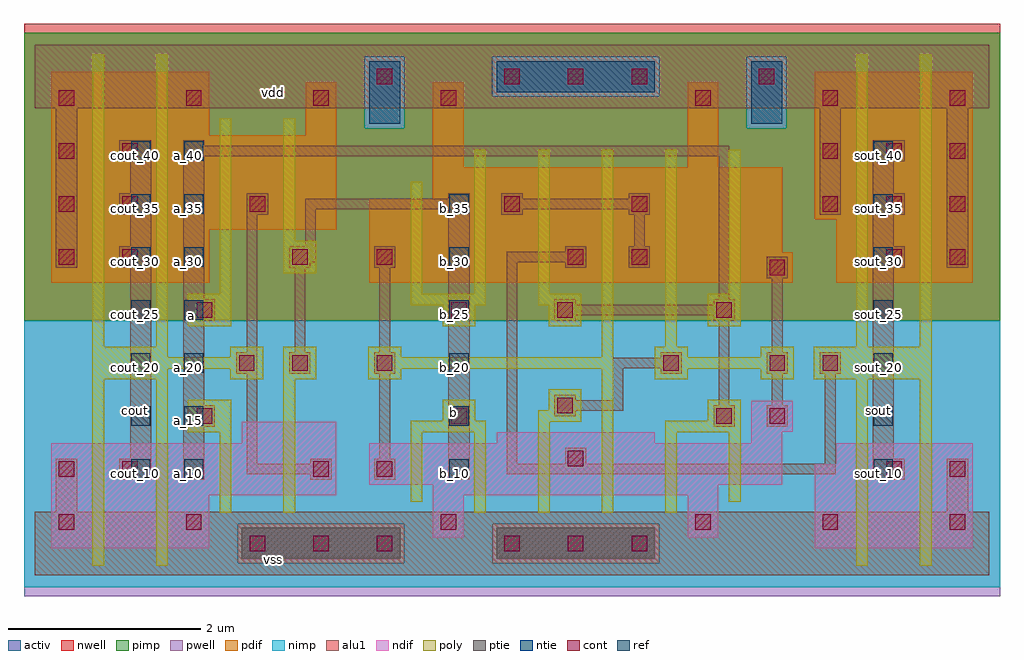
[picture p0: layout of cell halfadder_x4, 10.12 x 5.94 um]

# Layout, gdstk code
import gdstk
lib = gdstk.Library(unit=1e-6, precision=2.5e-09)
def R(c, l, rs):  # rectangles x0, y0, x1, y1
    for r in rs: c.add(gdstk.rectangle(r[:2], r[2:], *l))
def A(c, l, x, y, w, h, nx, ny, dx, dy):  # array of equal rectangles
    R(c, l, [(x+i*dx, y+j*dy, x+i*dx+w, y+j*dy+h) for i in range(nx) for j in range(ny)])
ndif = (3, 0)
pdif = (4, 0)
ntie = (5, 0)
ptie = (6, 0)
ref = (24, 0)
cont = (25, 0)
pwell = (41, 0)
nwell = (42, 0)
activ = (43, 0)
pimp = (44, 0)
nimp = (45, 0)
poly = (46, 0)
alu1 = (49, 0)

halfadder_x4 = lib.new_cell('halfadder_x4')
R(halfadder_x4, ndif, [(0.17,0.28,1.81,0.83), (0.17,0.28,1.81,0.83), (8.09,0.28,9.73,1.15), (8.09,0.28,9.73,1.15), (4.13,0.39,4.45,0.83), (4.13,0.39,4.45,0.83), (6.77,0.39,7.09,0.83), (6.77,0.39,7.09,0.83), (0.17,0.83,3.13,1.37), (0.17,0.83,3.13,1.37), (4.13,0.83,7.09,0.94), (4.13,0.83,7.09,0.94), (3.47,0.94,7.75,1.37), (3.47,0.94,7.75,1.37), (8.31,1.15,9.73,1.37), (8.31,1.15,9.73,1.37), (2.15,1.37,3.13,1.59), (2.15,1.37,3.13,1.59), (4.79,1.37,6.43,1.48), (4.79,1.37,6.43,1.48), (7.43,1.37,7.75,1.49), (7.43,1.37,7.75,1.49), (7.43,1.49,7.86,1.81), (7.43,1.49,7.86,1.81)])
R(halfadder_x4, pdif, [(0.17,3.03,1.81,3.58), (0.17,3.03,1.81,3.58), (3.47,3.03,7.86,3.35), (3.47,3.03,7.86,3.35), (8.31,3.03,9.73,3.69), (8.31,3.03,9.73,3.69), (3.47,3.35,7.75,3.9), (3.47,3.35,7.75,3.9), (0.17,3.58,3.13,4.56), (0.17,3.58,3.13,4.56), (8.09,3.69,9.73,5.22), (8.09,3.69,9.73,5.22), (4.13,3.9,7.75,4.23), (4.13,3.9,7.75,4.23), (4.13,4.23,4.45,5.11), (4.13,4.23,4.45,5.11), (6.77,4.23,7.09,5.11), (6.77,4.23,7.09,5.11), (0.17,4.56,1.81,5.22), (0.17,4.56,1.81,5.22), (2.81,4.56,3.13,5.11), (2.81,4.56,3.13,5.11)])
R(halfadder_x4, ntie, [(3.47,4.68,3.79,5.33), (3.47,4.68,3.79,5.33), (7.43,4.68,7.75,5.33), (7.43,4.68,7.75,5.33), (4.79,5.01,6.43,5.33), (4.79,5.01,6.43,5.33)])
R(halfadder_x4, ptie, [(2.15,0.17,3.79,0.49), (2.15,0.17,3.79,0.49), (4.79,0.17,6.43,0.49), (4.79,0.17,6.43,0.49)])
A(halfadder_x4, ref, 1, 1, 0.2, 0.2, 1, 7, 0, 0.55)
A(halfadder_x4, ref, 1.55, 1, 0.2, 0.2, 1, 7, 0, 0.55)
A(halfadder_x4, ref, 4.3, 1, 0.2, 0.2, 1, 6, 0, 0.55)
A(halfadder_x4, ref, 8.7, 1, 0.2, 0.2, 1, 7, 0, 0.55)
A(halfadder_x4, cont, 2.23, 0.25, 0.16, 0.16, 3, 1, 0.66, 0)
A(halfadder_x4, cont, 4.87, 0.25, 0.16, 0.16, 3, 2, 0.66, 4.84)
A(halfadder_x4, cont, 1.57, 0.47, 0.16, 0.16, 3, 1, 2.64, 0)
A(halfadder_x4, cont, 3.55, 1.02, 0.16, 0.16, 1, 3, 0, 1.1)
A(halfadder_x4, cont, 0.25, 3.22, 0.16, 0.16, 1, 3, 0, 0.55)
A(halfadder_x4, cont, 0.91, 3.22, 0.16, 0.16, 1, 3, 0, 0.55)
A(halfadder_x4, cont, 8.17, 3.77, 0.16, 0.16, 3, 2, 0.66, 0.55)
A(halfadder_x4, cont, 0.25, 4.87, 0.16, 0.16, 4, 1, 1.32, 0)
A(halfadder_x4, cont, 6.85, 4.87, 0.16, 0.16, 3, 1, 1.32, 0)
R(halfadder_x4, cont, [(0.25,0.47,0.41,0.63), (8.17,0.47,8.33,0.63), (9.49,0.47,9.65,0.63), (0.25,1.02,0.41,1.18), (0.91,1.02,1.07,1.18), (2.89,1.02,3.05,1.18), (8.83,1.02,8.99,1.18), (9.49,1.02,9.65,1.18), (5.53,1.13,5.69,1.29), (1.68,1.57,1.84,1.73), (4.32,1.57,4.48,1.73), (7.07,1.57,7.23,1.73), (7.62,1.57,7.78,1.73), (5.42,1.68,5.58,1.84), (2.12,2.12,2.28,2.28), (2.67,2.12,2.83,2.28), (6.52,2.12,6.68,2.28), (7.62,2.12,7.78,2.28), (8.17,2.12,8.33,2.28), (1.68,2.67,1.84,2.83), (4.32,2.67,4.48,2.83), (5.42,2.67,5.58,2.83), (7.07,2.67,7.23,2.83), (7.62,3.11,7.78,3.27), (2.67,3.22,2.83,3.38), (5.53,3.22,5.69,3.38), (6.19,3.22,6.35,3.38), (8.83,3.22,8.99,3.38), (9.49,3.22,9.65,3.38), (2.23,3.77,2.39,3.93), (4.87,3.77,5.03,3.93), (6.19,3.77,6.35,3.93), (3.55,5.09,3.71,5.25), (7.51,5.09,7.67,5.25)])
R(halfadder_x4, pwell, [(-0.11,-0.22,10.01,2.64)])
R(halfadder_x4, nwell, [(-0.11,2.64,10.01,5.72)])
R(halfadder_x4, activ, [(2.15,0.17,3.79,0.49), (2.15,0.17,3.79,0.49), (4.79,0.17,6.43,0.49), (4.79,0.17,6.43,0.49), (0.17,0.28,1.81,0.83), (0.17,0.28,1.81,0.83), (8.09,0.28,9.73,1.15), (8.09,0.28,9.73,1.15), (4.13,0.39,4.45,0.83), (4.13,0.39,4.45,0.83), (6.77,0.39,7.09,0.83), (6.77,0.39,7.09,0.83), (0.17,0.83,3.13,1.37), (0.17,0.83,3.13,1.37), (4.13,0.83,7.09,0.94), (4.13,0.83,7.09,0.94), (3.47,0.94,7.75,1.37), (3.47,0.94,7.75,1.37), (8.31,1.15,9.73,1.37), (8.31,1.15,9.73,1.37), (2.15,1.37,3.13,1.59), (2.15,1.37,3.13,1.59), (4.79,1.37,6.43,1.48), (4.79,1.37,6.43,1.48), (7.43,1.37,7.75,1.49), (7.43,1.37,7.75,1.49), (7.43,1.49,7.86,1.81), (7.43,1.49,7.86,1.81), (0.17,3.03,1.81,3.58), (0.17,3.03,1.81,3.58), (3.47,3.03,7.86,3.35), (3.47,3.03,7.86,3.35), (8.31,3.03,9.73,3.69), (8.31,3.03,9.73,3.69), (3.47,3.35,7.75,3.9), (3.47,3.35,7.75,3.9), (0.17,3.58,3.13,4.56), (0.17,3.58,3.13,4.56), (8.09,3.69,9.73,5.22), (8.09,3.69,9.73,5.22), (4.13,3.9,7.75,4.23), (4.13,3.9,7.75,4.23), (4.13,4.23,4.45,5.11), (4.13,4.23,4.45,5.11), (6.77,4.23,7.09,5.11), (6.77,4.23,7.09,5.11), (0.17,4.56,1.81,5.22), (0.17,4.56,1.81,5.22), (2.81,4.56,3.13,5.11), (2.81,4.56,3.13,5.11), (3.47,4.68,3.79,5.33), (3.47,4.68,3.79,5.33), (7.43,4.68,7.75,5.33), (7.43,4.68,7.75,5.33), (4.79,5.01,6.43,5.33), (4.79,5.01,6.43,5.33)])
R(halfadder_x4, pimp, [(2.105,0.125,3.835,0.535), (4.745,0.125,6.475,0.535), (-0.11,2.64,10.01,4.635), (-0.11,4.635,3.425,5.375), (3.835,4.635,7.385,4.965), (7.795,4.635,10.01,5.375), (3.835,4.965,4.745,5.375), (6.475,4.965,7.385,5.375), (-0.11,5.375,10.01,5.625)])
R(halfadder_x4, nimp, [(-0.11,-0.125,10.01,0.125), (-0.11,0.125,2.105,0.535), (3.835,0.125,4.745,0.535), (6.475,0.125,10.01,0.535), (-0.11,0.535,10.01,2.64), (3.425,4.635,3.835,5.375), (7.385,4.635,7.795,5.375), (4.745,4.965,6.475,5.375)])
R(halfadder_x4, poly, [(0.6,0.1,0.72,2.03), (1.26,0.1,1.38,2.03), (8.52,0.1,8.64,2.03), (9.18,0.1,9.3,2.03), (1.92,0.65,2.04,1.48), (2.58,0.65,2.7,2.03), (4.56,0.65,4.68,1.48), (5.22,0.65,5.34,1.59), (5.88,0.65,6,2.14), (6.54,0.65,6.66,1.48), (3.9,0.76,4.02,1.48), (7.2,0.76,7.32,1.48), (1.59,1.48,2.04,1.82), (3.9,1.48,4.68,1.6), (6.54,1.48,7.32,1.6), (5.22,1.59,5.67,1.71), (4.23,1.6,4.57,1.82), (6.98,1.6,7.32,1.82), (5.33,1.71,5.67,1.93), (0.6,2.03,1.38,2.14), (2.03,2.03,2.37,2.14), (2.58,2.03,2.92,2.37), (3.46,2.03,3.8,2.14), (6.43,2.03,6.77,2.14), (7.53,2.03,7.87,2.14), (8.08,2.03,9.3,2.37), (0.6,2.14,2.37,2.26), (3.46,2.14,6,2.26), (6.43,2.14,7.87,2.26), (0.6,2.26,1.38,2.37), (2.03,2.26,2.37,2.37), (3.46,2.26,3.8,2.37), (5.88,2.26,6,4.41), (6.43,2.26,6.77,2.37), (7.53,2.26,7.87,2.37), (0.6,2.37,0.72,5.4), (1.26,2.37,1.38,5.4), (6.54,2.37,6.66,4.41), (8.52,2.37,8.64,5.4), (9.18,2.37,9.3,5.4), (1.59,2.58,2.04,2.92), (4.23,2.58,4.57,2.8), (5.33,2.58,5.67,2.8), (6.98,2.58,7.32,2.92), (3.9,2.8,4.68,2.92), (5.22,2.8,5.67,2.92), (1.92,2.92,2.04,4.74), (3.9,2.92,4.02,4.08), (4.56,2.92,4.68,4.41), (5.22,2.92,5.34,4.41), (7.2,2.92,7.32,4.41), (2.58,3.13,2.92,3.47), (2.58,3.47,2.7,4.74)])
A(halfadder_x4, alu1, 3.52, 0.99, 0.22, 0.22, 1, 3, 0, 1.1)
A(halfadder_x4, alu1, 0.88, 3.19, 0.33, 0.22, 1, 3, 0, 0.55)
A(halfadder_x4, alu1, 8.69, 3.19, 0.33, 0.22, 1, 3, 0, 0.55)
R(halfadder_x4, alu1, [(0,0,9.9,0.66), (0.22,0.66,0.44,1.21), (9.46,0.66,9.68,1.21), (0.88,0.99,1.21,1.21), (1.54,0.99,1.76,1.54), (2.86,0.99,3.08,1.045), (4.29,0.99,4.51,3.795), (8.69,0.99,9.02,1.21), (2.2,1.045,3.08,1.155), (4.895,1.045,8.305,1.155), (2.2,1.155,2.31,2.09), (2.86,1.155,3.08,1.21), (4.895,1.155,5.005,3.245), (5.5,1.155,5.72,1.32), (8.195,1.155,8.305,2.09), (0.99,1.21,1.21,3.19), (3.575,1.21,3.685,2.09), (8.69,1.21,8.91,3.19), (1.54,1.54,1.87,1.76), (7.04,1.54,7.26,1.76), (7.59,1.54,7.81,1.76), (5.39,1.65,5.61,1.705), (5.39,1.705,6.105,1.815), (1.54,1.76,1.76,2.64), (7.095,1.76,7.205,2.64), (7.645,1.76,7.755,2.09), (5.39,1.815,5.61,1.87), (5.995,1.815,6.105,2.145), (2.09,2.09,2.31,2.31), (2.64,2.09,2.86,2.31), (6.49,2.09,6.71,2.145), (7.59,2.09,7.81,2.31), (8.14,2.09,8.36,2.31), (5.995,2.145,6.71,2.255), (6.49,2.255,6.71,2.31), (2.2,2.31,2.31,3.74), (2.695,2.31,2.805,3.19), (3.575,2.31,3.685,3.19), (7.645,2.31,7.755,3.08), (1.54,2.64,1.87,2.86), (5.39,2.64,5.61,2.695), (7.04,2.64,7.26,2.695), (5.39,2.695,7.26,2.805), (5.39,2.805,5.61,2.86), (7.04,2.805,7.26,2.86), (1.54,2.86,1.76,4.345), (7.095,2.86,7.205,4.345), (7.59,3.08,7.81,3.3), (0.22,3.19,0.44,4.84), (2.64,3.19,2.86,3.245), (5.5,3.19,5.72,3.245), (6.16,3.19,6.38,3.41), (9.46,3.19,9.68,4.84), (2.64,3.245,2.915,3.41), (4.895,3.245,5.72,3.355), (5.5,3.355,5.72,3.41), (0.99,3.41,1.21,3.74), (2.805,3.41,2.915,3.795), (6.215,3.41,6.325,3.74), (8.69,3.41,8.91,3.74), (2.2,3.74,2.42,3.96), (4.84,3.74,5.06,3.795), (6.16,3.74,6.38,3.795), (8.14,3.74,8.36,4.84), (2.805,3.795,4.51,3.905), (4.84,3.795,6.38,3.905), (4.29,3.905,4.51,3.96), (4.84,3.905,5.06,3.96), (6.16,3.905,6.38,3.96), (0.99,3.96,1.21,4.29), (8.69,3.96,8.91,4.29), (1.54,4.345,7.205,4.455), (1.54,4.455,1.76,4.51), (0,4.84,9.9,5.5)])
halfadder_x4.add(gdstk.Label('vss', (2.475,0.165), layer=49, texttype=0))
halfadder_x4.add(gdstk.Label('sout', (8.745,1.705), layer=49, texttype=0))
halfadder_x4.add(gdstk.Label('b', (4.345,1.69), layer=49, texttype=0))
halfadder_x4.add(gdstk.Label('a', (1.6225,2.695), layer=49, texttype=0))
halfadder_x4.add(gdstk.Label('cout', (1.045,1.705), layer=49, texttype=0))
halfadder_x4.add(gdstk.Label('vdd', (2.475,5.005), layer=49, texttype=0))
halfadder_x4.add(gdstk.Label('sout_15', (8.75,1.6), layer=24, texttype=0))
halfadder_x4.add(gdstk.Label('sout_20', (8.75,2.15), layer=24, texttype=0))
halfadder_x4.add(gdstk.Label('sout_25', (8.75,2.7), layer=24, texttype=0))
halfadder_x4.add(gdstk.Label('sout_35', (8.75,3.8), layer=24, texttype=0))
halfadder_x4.add(gdstk.Label('sout_30', (8.75,3.25), layer=24, texttype=0))
halfadder_x4.add(gdstk.Label('sout_10', (8.75,1.05), layer=24, texttype=0))
halfadder_x4.add(gdstk.Label('sout_40', (8.75,4.35), layer=24, texttype=0))
halfadder_x4.add(gdstk.Label('b_30', (4.35,3.25), layer=24, texttype=0))
halfadder_x4.add(gdstk.Label('b_25', (4.35,2.7), layer=24, texttype=0))
halfadder_x4.add(gdstk.Label('b_20', (4.35,2.15), layer=24, texttype=0))
halfadder_x4.add(gdstk.Label('b_15', (4.35,1.6), layer=24, texttype=0))
halfadder_x4.add(gdstk.Label('b_10', (4.35,1.05), layer=24, texttype=0))
halfadder_x4.add(gdstk.Label('b_35', (4.35,3.8), layer=24, texttype=0))
halfadder_x4.add(gdstk.Label('a_20', (1.6,2.15), layer=24, texttype=0))
halfadder_x4.add(gdstk.Label('a_25', (1.6,2.7), layer=24, texttype=0))
halfadder_x4.add(gdstk.Label('a_15', (1.6,1.6), layer=24, texttype=0))
halfadder_x4.add(gdstk.Label('a_10', (1.6,1.05), layer=24, texttype=0))
halfadder_x4.add(gdstk.Label('a_40', (1.6,4.35), layer=24, texttype=0))
halfadder_x4.add(gdstk.Label('a_35', (1.6,3.8), layer=24, texttype=0))
halfadder_x4.add(gdstk.Label('a_30', (1.6,3.25), layer=24, texttype=0))
halfadder_x4.add(gdstk.Label('cout_15', (1.05,1.6), layer=24, texttype=0))
halfadder_x4.add(gdstk.Label('cout_20', (1.05,2.15), layer=24, texttype=0))
halfadder_x4.add(gdstk.Label('cout_25', (1.05,2.7), layer=24, texttype=0))
halfadder_x4.add(gdstk.Label('cout_35', (1.05,3.8), layer=24, texttype=0))
halfadder_x4.add(gdstk.Label('cout_30', (1.05,3.25), layer=24, texttype=0))
halfadder_x4.add(gdstk.Label('cout_10', (1.05,1.05), layer=24, texttype=0))
halfadder_x4.add(gdstk.Label('cout_40', (1.05,4.35), layer=24, texttype=0))

lib.write_gds('halfadder_x4.gds')
